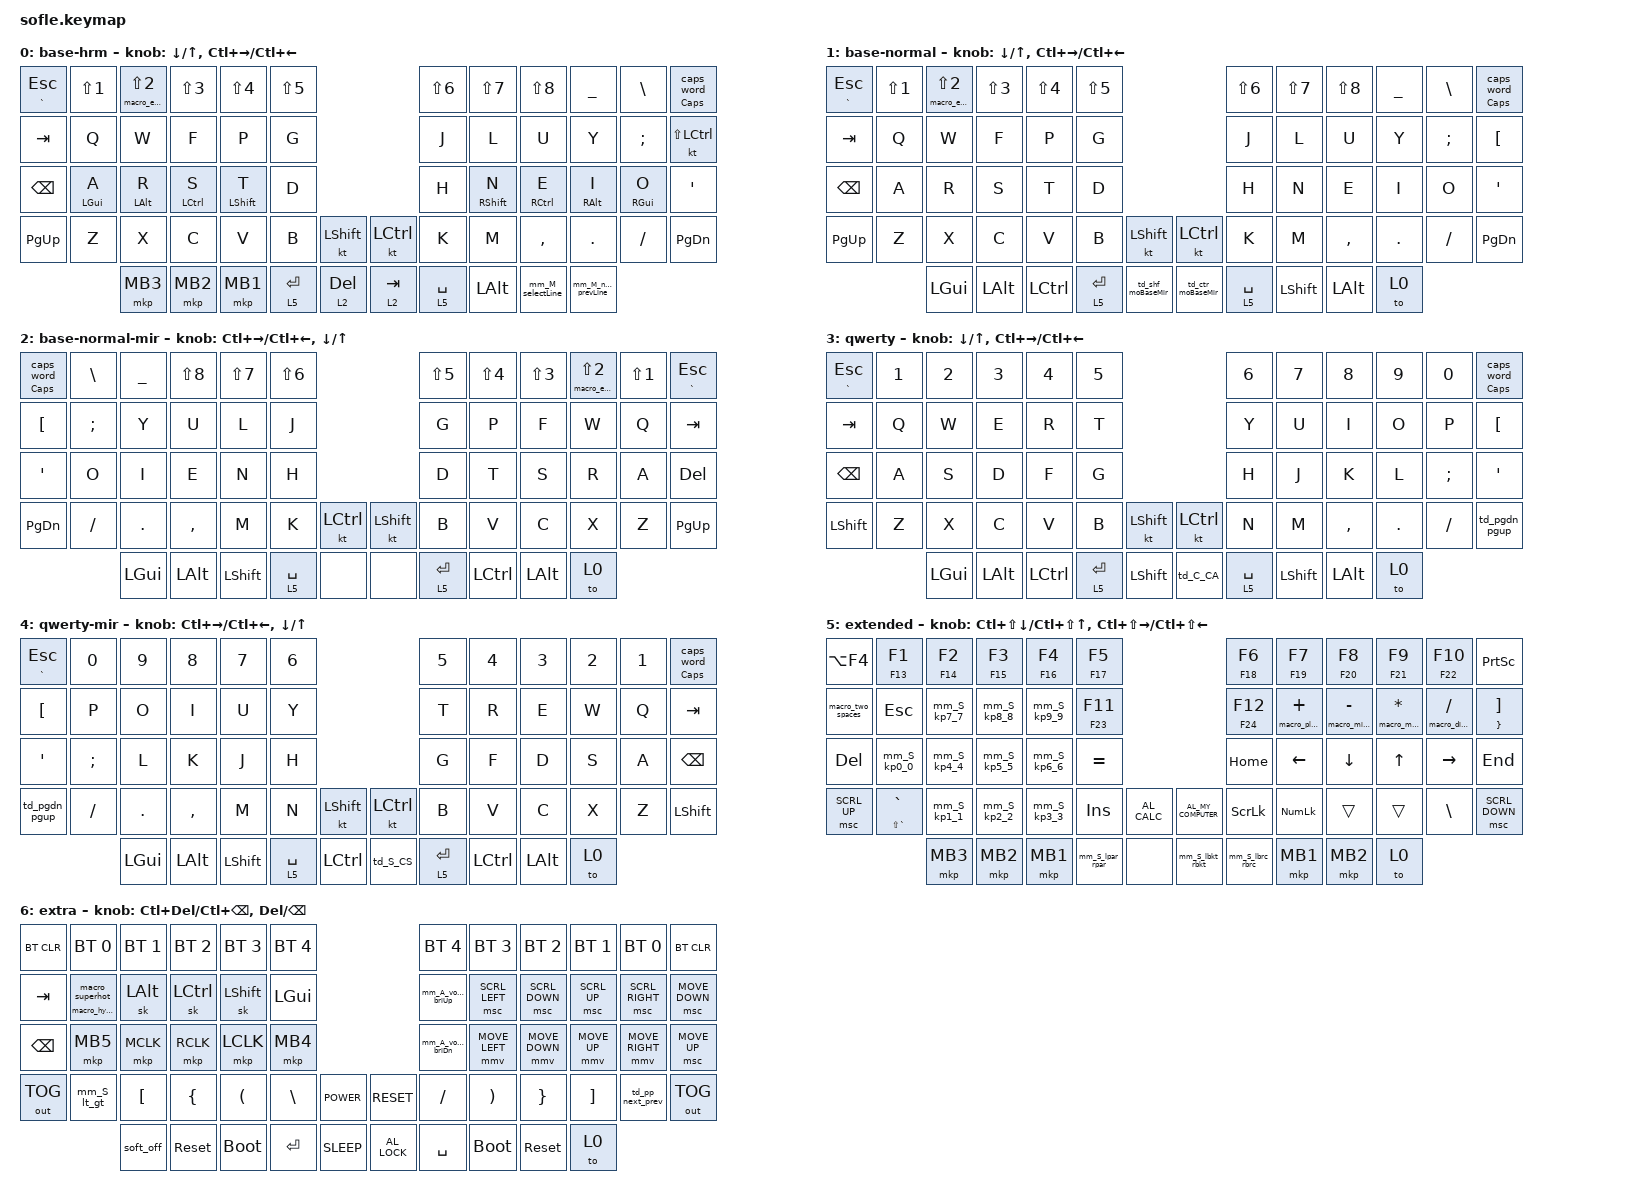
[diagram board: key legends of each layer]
/*
 * Copyright (c) 2020 The ZMK Contributors
 *
 * SPDX-License-Identifier: MIT
 */

#include "mouse.dtsi"
#include <behaviors.dtsi>
#include <dt-bindings/zmk/bt.h>
#include <dt-bindings/zmk/keys.h>
#include <dt-bindings/zmk/keys.h>
#include <dt-bindings/zmk/mouse.h>
#include <dt-bindings/zmk/outputs.h>

&caps_word { continue-list = <UNDERSCORE BACKSPACE DELETE LEFT RIGHT UP DOWN MINUS>; };

&lt {
    quick-tap-ms = <170>;
    require-prior-idle-ms = <150>;
};

&sk {
    release-after-ms = <1500>;
    quick-release;
};

&sl { release-after-ms = <500>; };

/ {
    conditional_layers { compatible = "zmk,conditional-layers"; };

    combos {
        compatible = "zmk,combos";

        combo_knobs_softoff {
            bindings = <&soft_off>;
            key-positions = <42 43>;
            timeout-ms = <300>;
            slow-release;
            require-prior-idle-ms = <1000>;
        };

        combo_to_base_hrm_l {
            bindings = <&to 0>;
            key-positions = <4 3>;
            timeout-ms = <30>;
            slow-release;
            require-prior-idle-ms = <300>;
        };

        combo_to_base_hrm_r {
            bindings = <&to 0>;
            key-positions = <7 8>;
            timeout-ms = <30>;
            slow-release;
            require-prior-idle-ms = <300>;
        };

        combo_to_base_normal_l {
            bindings = <&to 1>;
            key-positions = <2 4>;
            timeout-ms = <30>;
            slow-release;
            require-prior-idle-ms = <300>;
        };

        combo_to_base_normal_r {
            bindings = <&to 1>;
            key-positions = <7 9>;
            timeout-ms = <30>;
            slow-release;
            require-prior-idle-ms = <300>;
        };

        combo_to_qwerty_l {
            bindings = <&to 3>;
            key-positions = <1 2>;
            slow-release;
            timeout-ms = <30>;
            layers = <0 1 2 4 5 6>;
            require-prior-idle-ms = <300>;
        };

        combo_to_qwerty_r {
            bindings = <&to 3>;
            key-positions = <10 9>;
            timeout-ms = <30>;
            slow-release;
            require-prior-idle-ms = <300>;
            layers = <0 1 2 4 5 6>;
        };

        combo_to_qwerty_mir_l {
            bindings = <&to 4>;
            key-positions = <1 2>;
            slow-release;
            timeout-ms = <30>;
            layers = <3>;
            require-prior-idle-ms = <300>;
        };

        combo_to_qwerty_mir_r {
            bindings = <&to 4>;
            key-positions = <10 9>;
            timeout-ms = <30>;
            slow-release;
            require-prior-idle-ms = <300>;
            layers = <3>;
        };

        combo_to_extended_l {
            bindings = <&to 5>;
            key-positions = <5 4>;
            slow-release;
            timeout-ms = <30>;
            require-prior-idle-ms = <300>;
        };

        combo_to_extended_r {
            bindings = <&to 5>;
            key-positions = <7 6>;
            timeout-ms = <30>;
            slow-release;
            require-prior-idle-ms = <300>;
        };

        combo_to_extra_l {
            bindings = <&to 6>;
            key-positions = <3 2>;
            timeout-ms = <30>;
            slow-release;
            require-prior-idle-ms = <300>;
        };

        combo_to_extra_r {
            bindings = <&to 6>;
            key-positions = <9 8>;
            timeout-ms = <30>;
            slow-release;
            require-prior-idle-ms = <300>;
        };

        combo_mo_extra_1 {
            bindings = <&mo 6>;
            key-positions = <53 24>;
            timeout-ms = <70>;
            require-prior-idle-ms = <200>;
        };

        combo_mo_extra_2 {
            bindings = <&mo 6>;
            key-positions = <56 35>;
            timeout-ms = <70>;
            require-prior-idle-ms = <200>;
        };

        combo_mo_extra_3 {
            bindings = <&mo 6>;
            key-positions = <56 53>;
            timeout-ms = <70>;
            require-prior-idle-ms = <170>;
        };

        combo_sk_lshft {
            bindings = <&sk LSHFT>;
            key-positions = <28 31>;
            timeout-ms = <30>;
            slow-release;
            require-prior-idle-ms = <120>;
        };

        combo_sk_lctrl {
            bindings = <&sk LCTRL>;
            key-positions = <27 32>;
            timeout-ms = <30>;
            slow-release;
            require-prior-idle-ms = <120>;
        };

        combo_sk_lalt {
            bindings = <&sk LALT>;
            key-positions = <26 33>;
            timeout-ms = <30>;
            slow-release;
            require-prior-idle-ms = <120>;
        };

        combo_kp_gui {
            bindings = <&kp LGUI>;
            key-positions = <25 34>;
            timeout-ms = <30>;
            slow-release;
            require-prior-idle-ms = <200>;
        };

        combo_esc {
            bindings = <&kp ESC>;
            key-positions = <44 30>;
            timeout-ms = <30>;
            slow-release;
            require-prior-idle-ms = <100>;
        };

        combo_capsw {
            bindings = <&caps_word>;
            key-positions = <29 30>;
            timeout-ms = <30>;
            slow-release;
            require-prior-idle-ms = <170>;
        };

        combo_sk_shf_l {
            bindings = <&sk LSHFT>;
            key-positions = <16 28>;
            timeout-ms = <30>;
            slow-release;
            require-prior-idle-ms = <200>;
        };

        combo_sk_shf_r {
            bindings = <&sk RSHFT>;
            key-positions = <19 31>;
            timeout-ms = <30>;
            slow-release;
            require-prior-idle-ms = <200>;
        };

        combo_sk_ctr_l {
            bindings = <&sk LCTRL>;
            key-positions = <15 27>;
            timeout-ms = <30>;
            slow-release;
            require-prior-idle-ms = <200>;
        };

        combo_sk_ctr_r {
            bindings = <&sk RCTRL>;
            key-positions = <20 32>;
            timeout-ms = <30>;
            slow-release;
            require-prior-idle-ms = <200>;
        };

        combo_sk_alt_l {
            bindings = <&sk LALT>;
            key-positions = <14 26>;
            timeout-ms = <30>;
            slow-release;
            require-prior-idle-ms = <200>;
        };

        combo_sk_alt_r {
            bindings = <&sk RALT>;
            key-positions = <21 33>;
            timeout-ms = <30>;
            slow-release;
            require-prior-idle-ms = <200>;
        };

        combo_repeat_l {
            bindings = <&key_repeat>;
            key-positions = <16 15>;
            timeout-ms = <30>;
            slow-release;
            require-prior-idle-ms = <100>;
        };

        combo_repeat_r {
            bindings = <&key_repeat>;
            key-positions = <19 20>;
            slow-release;
            require-prior-idle-ms = <100>;
            timeout-ms = <30>;
        };

        combo_space {
            bindings = <&kp SPACE>;
            key-positions = <29 28>;
            slow-release;
            require-prior-idle-ms = <150>;
            timeout-ms = <30>;
        };

        combo_enter {
            bindings = <&kp ENTER>;
            key-positions = <30 31>;
            slow-release;
            require-prior-idle-ms = <150>;
            timeout-ms = <30>;
        };

        combo_under {
            bindings = <&kp UNDER>;
            key-positions = <27 40>;
            timeout-ms = <30>;
            slow-release;
            require-prior-idle-ms = <100>;
        };

        combo_equal {
            bindings = <&kp EQUAL>;
            key-positions = <32 45>;
            timeout-ms = <30>;
            require-prior-idle-ms = <100>;
            slow-release;
        };

        combo_bslh {
            bindings = <&kp BSLH>;
            key-positions = <28 41>;
            timeout-ms = <30>;
            slow-release;
            require-prior-idle-ms = <100>;
        };

        combo_fslh {
            bindings = <&kp FSLH>;
            key-positions = <31 44>;
            timeout-ms = <30>;
            slow-release;
            require-prior-idle-ms = <100>;
        };

        combo_excl {
            bindings = <&kp EXCL>;
            key-positions = <40 41>;
            timeout-ms = <30>;
            slow-release;
            require-prior-idle-ms = <100>;
        };

        combo_pipe {
            bindings = <&kp PIPE>;
            key-positions = <44 45>;
            timeout-ms = <30>;
            slow-release;
            require-prior-idle-ms = <100>;
        };

        combo_lt {
            bindings = <&kp LT>;
            key-positions = <26 39>;
            timeout-ms = <30>;
            slow-release;
            require-prior-idle-ms = <100>;
        };

        combo_gt {
            bindings = <&kp GT>;
            key-positions = <46 33>;
            timeout-ms = <30>;
            slow-release;
            require-prior-idle-ms = <100>;
        };

        combo_lpar {
            bindings = <&kp LPAR>;
            key-positions = <40 39>;
            timeout-ms = <30>;
            slow-release;
            require-prior-idle-ms = <100>;
        };

        combo_rpar {
            bindings = <&kp RPAR>;
            key-positions = <45 46>;
            timeout-ms = <30>;
            slow-release;
            require-prior-idle-ms = <100>;
        };

        combo_lbkt {
            bindings = <&kp LBKT>;
            key-positions = <37 38>;
            timeout-ms = <70>;
            slow-release;
            require-prior-idle-ms = <100>;
        };

        combo_rbkt {
            bindings = <&kp RBKT>;
            key-positions = <47 48>;
            timeout-ms = <70>;
            slow-release;
            require-prior-idle-ms = <100>;
        };

        combo_lbrc {
            bindings = <&kp LBRC>;
            key-positions = <39 38>;
            timeout-ms = <30>;
            slow-release;
            require-prior-idle-ms = <100>;
        };

        combo_rbrc {
            bindings = <&kp RBRC>;
            key-positions = <47 46>;
            timeout-ms = <30>;
            slow-release;
            require-prior-idle-ms = <100>;
        };

        combo_playpause {
            bindings = <&kp C_PP>;
            key-positions = <7 19>;
            timeout-ms = <30>;
            slow-release;
            require-prior-idle-ms = <200>;
        };

        combo_prev {
            bindings = <&kp C_PREV>;
            key-positions = <6 18>;
            timeout-ms = <30>;
            slow-release;
            require-prior-idle-ms = <200>;
        };

        combo_next {
            bindings = <&kp C_NEXT>;
            key-positions = <8 20>;
            timeout-ms = <30>;
            slow-release;
            require-prior-idle-ms = <170>;
        };

        combo_volup {
            bindings = <&mm_A_volUp_briUp>;
            key-positions = <4 16>;
            timeout-ms = <30>;
            slow-release;
            require-prior-idle-ms = <200>;
        };

        combo_voldn {
            bindings = <&mm_A_volDn_briDn>;
            key-positions = <3 15>;
            timeout-ms = <30>;
            slow-release;
            require-prior-idle-ms = <200>;
        };

        combo_mute {
            bindings = <&kp C_MUTE>;
            key-positions = <2 14>;
            timeout-ms = <30>;
            slow-release;
            require-prior-idle-ms = <200>;
        };

        combo_sk_gui_l {
            bindings = <&sk LGUI>;
            key-positions = <13 25>;
            timeout-ms = <30>;
            slow-release;
            require-prior-idle-ms = <200>;
        };

        combo_sk_gui_r {
            bindings = <&sk RGUI>;
            key-positions = <22 34>;
            timeout-ms = <30>;
            slow-release;
            require-prior-idle-ms = <200>;
        };

        combo_caps {
            bindings = <&kp CAPS>;
            key-positions = <17 18>;
        };

        combo_mkp_mb1_r {
            bindings = <&mkp MB1>;
            key-positions = <52 53>;
            timeout-ms = <170>;
            require-prior-idle-ms = <200>;
            layers = <0 1 2 3 4 5>;
        };

        combo_mkp_mb2_r {
            bindings = <&mkp MB2>;
            key-positions = <52 51>;
            timeout-ms = <170>;
            require-prior-idle-ms = <200>;
            layers = <0 1 2 3 4 5>;
        };

        combo_mkp_mb3_r {
            bindings = <&mkp MB3>;
            key-positions = <51 50>;
            timeout-ms = <170>;
            require-prior-idle-ms = <200>;
            layers = <0 1 2 3 4 5>;
        };

        combo_mkp_mb1_l {
            bindings = <&mkp MB1>;
            key-positions = <57 56>;
            timeout-ms = <170>;
            require-prior-idle-ms = <200>;
            layers = <0 1 2 3 4 5>;
        };

        combo_mkp_mb2_l {
            bindings = <&mkp MB2>;
            key-positions = <57 58>;
            timeout-ms = <170>;
            require-prior-idle-ms = <200>;
            layers = <0 1 2 3 4 5>;
        };

        combo_mkp_mb3_l {
            bindings = <&mkp MB3>;
            key-positions = <59 58>;
            timeout-ms = <170>;
            require-prior-idle-ms = <200>;
            layers = <0 1 2 3 4 5>;
        };
    };

    macros {
        macro_two_spaces: four_spaces {
            compatible = "zmk,behavior-macro";
            #binding-cells = <0>;
            bindings = <&kp SPACE &kp SPACE>;
            label = "FOUR_SPACES";
        };

        macro_superhot: superhot {
            compatible = "zmk,behavior-macro";
            #binding-cells = <0>;
            bindings = <&kp LS(I) &kp T &kp S &kp LS(D) &kp LS(M) &kp LS(D) &kp N2 &kp N5 &kp N1 &kp N0 &kp N1 &kp N5 &kp N0 &kp N7>;
            label = "SUPERHOT";
        };

        macro_hyperheat: hyperheat {
            compatible = "zmk,behavior-macro";
            #binding-cells = <0>;
            bindings = <&kp DLLR &kp LS(O) &kp LS(N) &kp D &kp LS(E) &kp LS(R) &kp LS(K) &kp LS(R) &kp AT &kp LS(F) &kp LS(T) &kp LS(F) &kp AT &kp LS(H) &kp LS(R) &kp LS(Z) &kp LS(E) &kp LS(U) &kp LS(G) &kp SPACE &kp N1 &kp N8 &kp N2>;
            label = "HYPERHEAT";
        };

        macro_email_dd431: email_dd431 {
            compatible = "zmk,behavior-macro";
            #binding-cells = <0>;
            bindings = <&kp D &kp U &kp C &kp DOT &kp D &kp A &kp O &kp DOT &kp N4 &kp N3 &kp N1 &kp AT &kp G &kp M &kp A &kp I &kp L &kp DOT &kp C &kp O &kp M>;
            label = "EMAIL_DD431";
        };

        macro_plus_equal: plus_equ {
            compatible = "zmk,behavior-macro";
            #binding-cells = <0>;
            bindings = <&kp PLUS &kp EQUAL>;
            label = "PLUS_EQU";
        };

        macro_minus_equal: macro_minus_equal {
            compatible = "zmk,behavior-macro";
            #binding-cells = <0>;
            bindings = <&kp MINUS &kp EQUAL>;
            label = "MACRO_MINUS_EQUAL";
        };

        macro_mult_equal: macro_mult_equal {
            compatible = "zmk,behavior-macro";
            #binding-cells = <0>;
            bindings = <&kp STAR &kp EQUAL>;
            label = "MACRO_MULT_EQUAL";
        };

        macro_div_equal: macro_div_equal {
            compatible = "zmk,behavior-macro";
            #binding-cells = <0>;
            bindings = <&kp FSLH &kp EQUAL>;
            label = "MACRO_DIV_EQUAL";
        };

        macro_ctrl_left: macro_ctrl_left {
            compatible = "zmk,behavior-macro";
            #binding-cells = <0>;
            bindings = <&kp LC(LEFT)>;
            label = "MACRO_CTRL_LEFT";
        };

        macro_ctrl_right: macro_ctrl_right {
            compatible = "zmk,behavior-macro";
            #binding-cells = <0>;
            bindings = <&kp LC(RIGHT)>;
            label = "MACRO_CTRL_RIGHT";
        };

        macro_select_line_finish_home: macro_select_line {
            compatible = "zmk,behavior-macro";
            #binding-cells = <0>;
            bindings =
                <&macro_tap>,
                <&kp END>,
                <&macro_press>,
                <&kp LSHIFT>,
                <&macro_tap>,
                <&kp UP &kp END &kp RIGHT>,
                <&macro_release>,
                <&kp LSHFT>;

            label = "MACRO_SELECT_LINE";
        };

        macro_select_line_finish_end: macro_select_line_finish_end {
            compatible = "zmk,behavior-macro";
            #binding-cells = <0>;
            bindings =
                <&macro_tap>,
                <&kp HOME>,
                <&macro_press>,
                <&kp LSHIFT>,
                <&macro_tap>,
                <&kp DOWN &kp HOME &kp LEFT>,
                <&macro_release>,
                <&kp LSHFT>;

            label = "MACRO_SELECT_LINE_FINISH_END";
        };

        macro_select_prev_line: macro_select_prev_line {
            compatible = "zmk,behavior-macro";
            #binding-cells = <0>;
            bindings =
                <&macro_press>,
                <&kp LSHFT>,
                <&macro_tap>,
                <&kp UP &kp HOME>,
                <&macro_release>,
                <&kp LSHFT>;

            label = "MACRO_SELECT_PREV_LINE";
        };

        macro_select_next_line: macro_select_next_line {
            compatible = "zmk,behavior-macro";
            #binding-cells = <0>;
            bindings =
                <&macro_press>,
                <&kp LSHFT>,
                <&macro_tap>,
                <&kp DOWN &kp END>,
                <&macro_release>,
                <&kp LSHFT>;

            label = "MACRO_SELECT_NEXT_LINE";
        };
    };

    behaviors {
        ht_kp_kp: ht_kp_kp {
            compatible = "zmk,behavior-hold-tap";
            label = "HT | KP / KP";
            bindings = <&kp>, <&kp>;

            #binding-cells = <2>;
            tapping-term-ms = <300>;
            flavor = "tap-preferred";
            quick-tap-ms = <170>;
        };

        td_S_CS: td_S_CS {
            compatible = "zmk,behavior-tap-dance";
            label = "TD | S / CS";
            #binding-cells = <0>;
            bindings = <&kp LSHFT>, <&kp LC(LSHIFT)>;
        };

        td_C_CA: td_C_CA {
            compatible = "zmk,behavior-tap-dance";
            label = "TD | C / CA";
            #binding-cells = <0>;
            bindings = <&kp LCTRL>, <&kp LC(LALT)>;
        };

        ht_capw: ht_capw {
            compatible = "zmk,behavior-hold-tap";
            label = "HT | CAPW";
            bindings = <&kp>, <&caps_word>;

            #binding-cells = <2>;
            tapping-term-ms = <170>;
        };

        ht170_kp_kp: ht170_kp_kp {
            compatible = "zmk,behavior-hold-tap";
            label = "HT170 | KP / KP";
            bindings = <&kp>, <&kp>;

            #binding-cells = <2>;
            tapping-term-ms = <170>;
            quick-tap-ms = <100>;
        };

        fuego: fuego {
            compatible = "zmk,behavior-hold-tap";
            label = "FUEGO";
            bindings = <&macro_hyperheat>, <&macro_superhot>;

            #binding-cells = <2>;
            tapping-term-ms = <500>;
        };

        email_1: email_1 {
            compatible = "zmk,behavior-hold-tap";
            label = "EMAIL_1";
            bindings = <&macro_email_dd431>, <&kp>;

            #binding-cells = <2>;
            tapping-term-ms = <200>;
        };

        ht500_kp_kp: ht500_kp_kp {
            compatible = "zmk,behavior-hold-tap";
            label = "HT500 | KP / KP";
            bindings = <&kp>, <&kp>;

            #binding-cells = <2>;
            tapping-term-ms = <500>;
            flavor = "tap-preferred";
            quick-tap-ms = <200>;
        };

        plus_equal: plus_equal {
            compatible = "zmk,behavior-hold-tap";
            label = "PLUS_EQUAL";
            bindings = <&macro_plus_equal>, <&kp>;

            #binding-cells = <2>;
            tapping-term-ms = <250>;
            flavor = "tap-preferred";
            quick-tap-ms = <170>;
        };

        mm_A_volUp_briUp: mm_A_volUp_briUp {
            compatible = "zmk,behavior-mod-morph";
            label = "MM / ALT | VOL_UP / BRI_UP";
            bindings = <&kp C_VOL_UP>, <&kp C_BRI_UP>;

            #binding-cells = <0>;
            mods = <(MOD_LALT|MOD_RALT)>;
        };

        mm_A_volDn_briDn: mm_A_volDn_briDn {
            compatible = "zmk,behavior-mod-morph";
            label = "MM / ALT | VOLDN / BRIDN";
            bindings = <&ht_kp_kp C_MUTE C_VOL_DN>, <&kp C_BRI_DN>;

            #binding-cells = <0>;
            mods = <(MOD_LALT|MOD_RALT)>;
        };

        ht_mo_sl: ht_mo_sl {
            compatible = "zmk,behavior-hold-tap";
            label = "HT | MO / SL";
            bindings = <&mo>, <&sl>;

            #binding-cells = <2>;
            tapping-term-ms = <200>;
            flavor = "tap-preferred";
        };

        mm_S_kp0_0: mm_S_kp0_0 {
            compatible = "zmk,behavior-mod-morph";
            label = "MM_S_KP0_0";
            bindings = <&kp KP_N0>, <&kp LS(N0)>;

            #binding-cells = <0>;
            mods = <(MOD_LSFT|MOD_RSFT)>;
        };

        mm_S_kp1_1: mm_S_kp1_1 {
            compatible = "zmk,behavior-mod-morph";
            label = "MM_S_KP1_1";
            bindings = <&kp KP_N1>, <&kp LS(N1)>;

            #binding-cells = <0>;
            mods = <(MOD_LSFT|MOD_RSFT)>;
        };

        mm_S_kp2_2: mm_S_kp2_2 {
            compatible = "zmk,behavior-mod-morph";
            label = "MM_S_KP2_2";
            bindings = <&kp KP_N2>, <&kp LS(N2)>;

            #binding-cells = <0>;
            mods = <(MOD_LSFT|MOD_RSFT)>;
        };

        mm_S_kp3_3: mm_S_kp3_3 {
            compatible = "zmk,behavior-mod-morph";
            label = "MM_S_KP3_3";
            bindings = <&kp KP_N3>, <&kp LS(N3)>;

            #binding-cells = <0>;
            mods = <(MOD_LSFT|MOD_RSFT)>;
        };

        mm_S_kp4_4: mm_S_kp4_4 {
            compatible = "zmk,behavior-mod-morph";
            label = "MM_S_KP4_4";
            bindings = <&kp KP_N4>, <&kp LS(N4)>;

            #binding-cells = <0>;
            mods = <(MOD_LSFT|MOD_RSFT)>;
        };

        mm_S_kp5_5: mm_S_kp5_5 {
            compatible = "zmk,behavior-mod-morph";
            label = "MM_S_KP5_5";
            bindings = <&kp KP_N5>, <&kp LS(N5)>;

            #binding-cells = <0>;
            mods = <(MOD_LSFT|MOD_RSFT)>;
        };

        mm_S_kp6_6: mm_S_kp6_6 {
            compatible = "zmk,behavior-mod-morph";
            label = "MM_S_KP6_6";
            bindings = <&kp KP_N6>, <&kp LS(N6)>;

            #binding-cells = <0>;
            mods = <(MOD_LSFT|MOD_RSFT)>;
        };

        mm_S_kp7_7: mm_S_kp7_7 {
            compatible = "zmk,behavior-mod-morph";
            label = "MM_S_KP7_7";
            bindings = <&kp KP_N7>, <&kp LS(N7)>;

            #binding-cells = <0>;
            mods = <(MOD_LSFT|MOD_RSFT)>;
        };

        mm_S_kp8_8: mm_S_kp8_8 {
            compatible = "zmk,behavior-mod-morph";
            label = "MM_S_KP8_8";
            bindings = <&kp KP_N8>, <&kp LS(N8)>;

            #binding-cells = <0>;
            mods = <(MOD_LSFT|MOD_RSFT)>;
        };

        mm_S_kp9_9: mm_S_kp9_9 {
            compatible = "zmk,behavior-mod-morph";
            label = "MM_S_KP9_9";
            bindings = <&kp KP_N9>, <&kp LS(N9)>;

            #binding-cells = <0>;
            mods = <(MOD_LSFT|MOD_RSFT)>;
        };

        hrm_r: hrm_r {
            compatible = "zmk,behavior-hold-tap";
            label = "HRM_R";
            bindings = <&kp>, <&kp>;

            #binding-cells = <2>;
            tapping-term-ms = <1000>;
            quick-tap-ms = <80>;
            require-prior-idle-ms = <150>;
            flavor = "balanced";
            hold-trigger-on-release;
            hold-trigger-key-positions = <16 17 28 29 40 41 13 14 15 16 17 25 26 27 28 29 37 38 39 40 41 12 24 36 50 51 52 53 54 49 35 23 0 1 2 3 4 5 6 7 8 9 10 11 59 58 57 42 43>;
        };

        hrm_l: hrm_l {
            compatible = "zmk,behavior-hold-tap";
            label = "HRM_L";
            bindings = <&kp>, <&kp>;

            #binding-cells = <2>;
            tapping-term-ms = <1000>;
            quick-tap-ms = <80>;
            require-prior-idle-ms = <150>;
            flavor = "balanced";
            hold-trigger-on-release;
            hold-trigger-key-positions = <18 19 21 22 30 31 32 33 34 44 45 46 47 48 20 23 35 49 55 56 57 58 59 12 24 36 0 1 2 3 4 5 6 7 8 9 10 11 43 42 52 51 50>;
        };

        mm_S_lpar_rpar: mm_S_lpar_rpar {
            compatible = "zmk,behavior-mod-morph";
            label = "MM / SHF | LPAR / RPAR";
            bindings = <&kp LPAR>, <&kp RPAR>;

            #binding-cells = <0>;
            mods = <(MOD_LSFT|MOD_RSFT)>;
        };

        mm_S_lbkt_rbkt: mm_S_lbkt_rbkt {
            compatible = "zmk,behavior-mod-morph";
            label = "MM / SHF | LBKT / RBKT";
            bindings = <&kp LBKT>, <&kp RBKT>;

            #binding-cells = <0>;
            mods = <(MOD_LSFT|MOD_RSFT)>;
        };

        mm_S_lbrc_rbrc: mm_S_lbrc_rbrc {
            compatible = "zmk,behavior-mod-morph";
            label = "MM / SHF | LBRC / RBRC";
            bindings = <&kp LBRC>, <&kp RBRC>;

            #binding-cells = <0>;
            mods = <(MOD_LSFT|MOD_RSFT)>;
        };

        mm_S_lt_gt: mm_S_lt_gt {
            compatible = "zmk,behavior-mod-morph";
            label = "MM / SHF | LT / GT";
            bindings = <&kp LT>, <&kp GT>;

            #binding-cells = <0>;
            mods = <(MOD_LSFT|MOD_RSFT)>;
        };

        td_shf_moBaseMir: td_shf_moBaseMir {
            compatible = "zmk,behavior-tap-dance";
            label = "TD_SHF_MOBASEMIR";
            #binding-cells = <0>;
            bindings = <&kp LSHFT>, <&mo 2>;

            tapping-term-ms = <150>;
        };

        td_ctr_moBaseMir: td_ctr_moBaseMir {
            compatible = "zmk,behavior-tap-dance";
            label = "TD_CTR_MOBASEMIR";
            #binding-cells = <0>;
            bindings = <&kp LCTRL>, <&mo 2>;

            tapping-term-ms = <150>;
        };

        ht170_mo_mmbspc: ht170_mo_mmbspc {
            compatible = "zmk,behavior-hold-tap";
            label = "HT170_MO_MMBSPC";
            bindings = <&mo>, <&none>;

            #binding-cells = <2>;
            tapping-term-ms = <170>;
            quick-tap-ms = <120>;
            flavor = "hold-preferred";
        };

        td_pgdn_pgup: td_pgdn_pgup {
            compatible = "zmk,behavior-tap-dance";
            label = "TD_PGDN_PGUP";
            #binding-cells = <0>;
            bindings = <&kp PG_DN>, <&kp PG_UP>;

            tapping-term-ms = <120>;
        };

        minus_equal: minus_equal {
            compatible = "zmk,behavior-hold-tap";
            label = "MINUS_EQUAL";
            bindings = <&macro_minus_equal>, <&kp>;

            #binding-cells = <2>;
            tapping-term-ms = <250>;
            flavor = "tap-preferred";
            quick-tap-ms = <170>;
        };

        mult_equal: mult_equal {
            compatible = "zmk,behavior-hold-tap";
            label = "MULT_EQUAL";
            bindings = <&macro_mult_equal>, <&kp>;

            #binding-cells = <2>;
            tapping-term-ms = <250>;
            flavor = "tap-preferred";
            quick-tap-ms = <170>;
        };

        div_equal: div_equal {
            compatible = "zmk,behavior-hold-tap";
            label = "DIV_EQUAL";
            bindings = <&macro_div_equal>, <&kp>;

            #binding-cells = <2>;
            tapping-term-ms = <250>;
            flavor = "tap-preferred";
            quick-tap-ms = <170>;
        };

        td_pp_next_prev: td_pp_next_prev {
            compatible = "zmk,behavior-tap-dance";
            label = "TD_PP_NEXT_PREV";
            #binding-cells = <0>;
            bindings = <&kp C_PP>, <&kp C_NEXT>, <&kp C_PREV>;
        };

        mm_M_selectLine: mm_M_selectLine {
            compatible = "zmk,behavior-mod-morph";
            label = "MM_M_SELECTLINE";
            bindings =
                <&macro_select_line_finish_end>,
                <&macro_select_line_finish_home>;

            #binding-cells = <0>;
            mods = <(MOD_LALT|MOD_RALT)>;
        };

        mm_M_nextLine_prevLine: mm_M_nextLine_prevLine {
            compatible = "zmk,behavior-mod-morph";
            label = "MM_M_NEXTLINE_PREVLINE";
            bindings = <&macro_select_next_line>, <&macro_select_prev_line>;

            #binding-cells = <0>;
            mods = <(MOD_LALT|MOD_RALT)>;
        };
    };

    keymap {
        compatible = "zmk,keymap";

        layer_base_hrm {
            display-name = "base-hrm";
            bindings = <
&ht_kp_kp GRAVE ESC  &kp LS(N1)     &email_1 0 LS(N2)  &kp LS(N3)      &kp LS(N4)      &kp LS(N5)                           &kp LS(N6)   &kp LS(N7)      &kp LS(N8)        &kp UNDER                &kp BSLH       &ht_capw CAPS 0
&kp TAB              &kp Q          &kp W              &kp F           &kp P           &kp G                                &kp J        &kp L           &kp U             &kp Y                    &kp SEMI       &kt LS(LCTRL)
&kp BSPC             &hrm_l LGUI A  &hrm_l LALT R      &hrm_l LCTRL S  &hrm_l LSHFT T  &kp D                                &kp H        &hrm_r RSHFT N  &hrm_r RCTRL E    &hrm_r RALT I            &hrm_r RGUI O  &kp APOS
&kp PG_UP            &kp Z          &kp X              &kp C           &kp V           &kp B        &kt LSHFT    &kt LCTRL  &kp K        &kp M           &kp COMMA         &kp DOT                  &kp FSLH       &kp PG_DN
                                    &mkp MB3           &mkp MB2        &mkp MB1        &lt 5 ENTER  &lt 2 DEL    &lt 2 TAB  &lt 5 SPACE  &kp LALT        &mm_M_selectLine  &mm_M_nextLine_prevLine
            >;

            sensor-bindings =
                <&inc_dec_kp DOWN UP>,
                <&inc_dec_kp LC(RIGHT) LC(LEFT)>;

            label = "Base HRM";
        };

        layer_base_normal {
            display-name = "base-normal";
            bindings = <
&ht_kp_kp GRAVE ESC  &kp LS(N1)  &email_1 0 LS(N2)  &kp LS(N3)  &kp LS(N4)  &kp LS(N5)                                           &kp LS(N6)   &kp LS(N7)  &kp LS(N8)  &kp UNDER  &kp BSLH  &ht_capw CAPS 0
&kp TAB              &kp Q       &kp W              &kp F       &kp P       &kp G                                                &kp J        &kp L       &kp U       &kp Y      &kp SEMI  &kp LBKT
&kp BSPC             &kp A       &kp R              &kp S       &kp T       &kp D                                                &kp H        &kp N       &kp E       &kp I      &kp O     &kp APOS
&kp PG_UP            &kp Z       &kp X              &kp C       &kp V       &kp B        &kt LSHFT            &kt LCTRL          &kp K        &kp M       &kp COMMA   &kp DOT    &kp FSLH  &kp PG_DN
                                 &kp LGUI           &kp LALT    &kp LCTRL   &lt 5 ENTER  &td_shf_moBaseMir    &td_ctr_moBaseMir  &lt 5 SPACE  &kp LSHFT   &kp LALT    &to 0
            >;

            sensor-bindings =
                <&inc_dec_kp DOWN UP>,
                <&inc_dec_kp LC(RIGHT) LC(LEFT)>;

            label = "Base Normal";
        };

        layer_base_normal_mir {
            display-name = "base-normal-mir";
            bindings = <
&ht_capw CAPS 0  &kp BSLH  &kp UNDER  &kp LS(N8)  &kp LS(N7)  &kp LS(N6)                           &kp LS(N5)   &kp LS(N4)  &kp LS(N3)  &email_1 0 LS(N2)  &kp LS(N1)  &ht_kp_kp GRAVE ESC
&kp LBKT         &kp SEMI  &kp Y      &kp U       &kp L       &kp J                                &kp G        &kp P       &kp F       &kp W              &kp Q       &kp TAB
&kp APOS         &kp O     &kp I      &kp E       &kp N       &kp H                                &kp D        &kp T       &kp S       &kp R              &kp A       &kp DEL
&kp PG_DN        &kp FSLH  &kp DOT    &kp COMMA   &kp M       &kp K        &kt LCTRL    &kt LSHFT  &kp B        &kp V       &kp C       &kp X              &kp Z       &kp PG_UP
                           &kp LGUI   &kp LALT    &kp LSHFT   &lt 5 SPACE  &none        &none      &lt 5 ENTER  &kp LCTRL   &kp LALT    &to 0
            >;

            sensor-bindings =
                <&inc_dec_kp LC(RIGHT) LC(LEFT)>,
                <&inc_dec_kp DOWN UP>;

            label = "Base Normal Mirrored";
        };

        layer_qwerty {
            display-name = "qwerty";
            bindings = <
&ht_kp_kp GRAVE ESC  &kp N1  &kp N2    &kp N3    &kp N4     &kp N5                               &kp N6       &kp N7     &kp N8     &kp N9   &kp N0    &ht_capw CAPS 0
&kp TAB              &kp Q   &kp W     &kp E     &kp R      &kp T                                &kp Y        &kp U      &kp I      &kp O    &kp P     &kp LBKT
&kp BSPC             &kp A   &kp S     &kp D     &kp F      &kp G                                &kp H        &kp J      &kp K      &kp L    &kp SEMI  &kp APOS
&kp LSHFT            &kp Z   &kp X     &kp C     &kp V      &kp B        &kt LSHFT    &kt LCTRL  &kp N        &kp M      &kp COMMA  &kp DOT  &kp FSLH  &td_pgdn_pgup
                             &kp LGUI  &kp LALT  &kp LCTRL  &lt 5 ENTER  &kp LSHFT    &td_C_CA   &lt 5 SPACE  &kp LSHFT  &kp LALT   &to 0
            >;

            sensor-bindings =
                <&inc_dec_kp DOWN UP>,
                <&inc_dec_kp LC(RIGHT) LC(LEFT)>;

            label = "QWERTY";
        };

        layer_qwerty_mir {
            display-name = "qwerty-mir";
            bindings = <
&ht_kp_kp GRAVE ESC  &kp N0    &kp N9    &kp N8     &kp N7     &kp N6                               &kp N5       &kp N4     &kp N3    &kp N2  &kp N1  &ht_capw CAPS 0
&kp LBKT             &kp P     &kp O     &kp I      &kp U      &kp Y                                &kp T        &kp R      &kp E     &kp W   &kp Q   &kp TAB
&kp SQT              &kp SEMI  &kp L     &kp K      &kp J      &kp H                                &kp G        &kp F      &kp D     &kp S   &kp A   &kp BSPC
&td_pgdn_pgup        &kp FSLH  &kp DOT   &kp COMMA  &kp M      &kp N        &kt LSHFT    &kt LCTRL  &kp B        &kp V      &kp C     &kp X   &kp Z   &kp LSHFT
                               &kp LGUI  &kp LALT   &kp LSHFT  &lt 5 SPACE  &kp LCTRL    &td_S_CS   &lt 5 ENTER  &kp LCTRL  &kp LALT  &to 0
            >;

            label = "QWERTY Mirrored";
            sensor-bindings =
                <&inc_dec_kp LC(RIGHT) LC(LEFT)>,
                <&inc_dec_kp DOWN UP>;
        };

        layer_extended {
            display-name = "extended";
            bindings = <
&kp LA(F4)         &ht500_kp_kp F13 F1        &ht500_kp_kp F14 F2  &ht500_kp_kp F15 F3  &ht500_kp_kp F16 F4  &ht500_kp_kp F17 F5                                          &ht500_kp_kp F18 F6   &ht500_kp_kp F19 F7  &ht500_kp_kp F20 F8   &ht500_kp_kp F21 F9  &ht500_kp_kp F22 F10  &kp PSCRN
&macro_two_spaces  &kp ESC                    &mm_S_kp7_7          &mm_S_kp8_8          &mm_S_kp9_9          &ht500_kp_kp F23 F11                                         &ht500_kp_kp F24 F12  &plus_equal 0 PLUS   &minus_equal 0 MINUS  &mult_equal 0 ASTRK  &div_equal 0 FSLH     &ht_kp_kp RBRC RBKT
&kp DEL            &mm_S_kp0_0                &mm_S_kp4_4          &mm_S_kp5_5          &mm_S_kp6_6          &kp EQUAL                                                    &kp HOME              &kp LEFT             &kp DOWN              &kp UP               &kp RIGHT             &kp END
&msc SCRL_UP       &ht_kp_kp LS(GRAVE) GRAVE  &mm_S_kp1_1          &mm_S_kp2_2          &mm_S_kp3_3          &kp INS               &kp C_AL_CALC    &kp C_AL_MY_COMPUTER  &kp SCROLLLOCK        &kp KP_NUMLOCK       &trans                &trans               &kp BSLH              &msc SCRL_DOWN
                                              &mkp MB3             &mkp MB2             &mkp MB1             &mm_S_lpar_rpar       &none            &mm_S_lbkt_rbkt       &mm_S_lbrc_rbrc       &mkp MB1             &mkp MB2              &to 0
            >;

            sensor-bindings =
                <&inc_dec_kp LC(LS(DOWN)) LC(LS(UP))>,
                <&inc_dec_kp LC(LS(RIGHT)) LC(LS(LEFT))>;

            label = "Extended";
        };

        layer_extra {
            display-name = "extra";
            bindings = <
&bt BT_CLR    &bt BT_SEL 0  &bt BT_SEL 1  &bt BT_SEL 2  &bt BT_SEL 3  &bt BT_SEL 4                                &bt BT_SEL 4       &bt BT_SEL 3    &bt BT_SEL 2    &bt BT_SEL 1  &bt BT_SEL 0      &bt BT_CLR
&kp TAB       &fuego 0 0    &sk LALT      &sk LCTRL     &sk LSHFT     &kp LGUI                                    &mm_A_volUp_briUp  &msc SCRL_LEFT  &msc SCRL_DOWN  &msc SCRL_UP  &msc SCRL_RIGHT   &msc MOVE_DOWN
&kp BSPC      &mkp MB5      &mkp MCLK     &mkp RCLK     &mkp LCLK     &mkp MB4                                    &mm_A_volDn_briDn  &mmv MOVE_LEFT  &mmv MOVE_DOWN  &mmv MOVE_UP  &mmv MOVE_RIGHT   &msc MOVE_UP
&out OUT_TOG  &mm_S_lt_gt   &kp LBKT      &kp LBRC      &kp LPAR      &kp BSLH      &kp C_POWER    &kp C_RESET    &kp FSLH           &kp RPAR        &kp RBRC        &kp RBKT      &td_pp_next_prev  &out OUT_TOG
                            &soft_off     &sys_reset    &bootloader   &kp ENTER     &kp C_SLEEP    &kp C_AL_LOCK  &kp SPACE          &bootloader     &sys_reset      &to 0
            >;

            label = "Extra";
            sensor-bindings =
                <&inc_dec_kp LC(DEL) LC(BSPC)>,
                <&inc_dec_kp DEL BSPC>;
        };
    };
};
